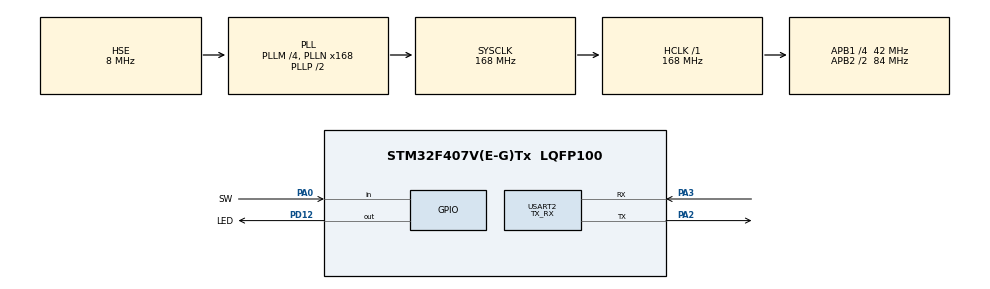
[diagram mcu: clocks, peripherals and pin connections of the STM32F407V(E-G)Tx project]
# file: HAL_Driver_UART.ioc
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Mcu.Family=STM32F4
Mcu.Name=STM32F407V(E-G)Tx
Mcu.Package=LQFP100
NVIC.PriorityGroup=NVIC_PRIORITYGROUP_4
NVIC.USART2_IRQn=true\:0\:0\:false\:false\:true\:true\:true\:true
PA0-WKUP.GPIO_Label=SW
PA0-WKUP.Signal=GPIO_Input
PA2.Mode=Asynchronous
PA2.Signal=USART2_TX
PA3.Mode=Asynchronous
PA3.Signal=USART2_RX
PD12.GPIO_Label=LED
PD12.Signal=GPIO_Output
PH0-OSC_IN.Mode=HSE-External-Oscillator
PH0-OSC_IN.Signal=RCC_OSC_IN
PH1-OSC_OUT.Mode=HSE-External-Oscillator
PH1-OSC_OUT.Signal=RCC_OSC_OUT
ProjectManager.HeapSize=0x200
ProjectManager.StackSize=0x400
ProjectManager.TargetToolchain=STM32CubeIDE
RCC.48MHZClocksFreq_Value=84000000
RCC.AHBFreq_Value=168000000
RCC.APB1CLKDivider=RCC_HCLK_DIV4
RCC.APB1Freq_Value=42000000
RCC.APB1TimFreq_Value=84000000
RCC.APB2CLKDivider=RCC_HCLK_DIV2
RCC.APB2Freq_Value=84000000
RCC.APB2TimFreq_Value=168000000
RCC.CortexFreq_Value=168000000
RCC.HCLKFreq_Value=168000000
RCC.HSE_VALUE=8000000
RCC.HSI_VALUE=16000000
RCC.LSE_VALUE=32768
RCC.PLLM=4
RCC.PLLN=168
RCC.PLLSourceVirtual=RCC_PLLSOURCE_HSE
RCC.SYSCLKFreq_VALUE=168000000
RCC.SYSCLKSource=RCC_SYSCLKSOURCE_PLLCLK
RCC.VCOOutputFreq_Value=336000000
USART2.Mode=MODE_TX_RX
USART2.VirtualMode=VM_ASYNC
board=custom

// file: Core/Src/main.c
/* USER CODE BEGIN Header */
/**
  ******************************************************************************
  * @file           : main.c
  * @brief          : Main program body
  ******************************************************************************
  * @attention
  *
  * Copyright (c) 2023 STMicroelectronics.
  * All rights reserved.
  *
  * This software is licensed under terms that can be found in the LICENSE file
  * in the root directory of this software component.
  * If no LICENSE file comes with this software, it is provided AS-IS.
  *
  ******************************************************************************
  */
/* USER CODE END Header */
#include "main.h"
#include "usart.h"
#include "gpio.h"

/* USER CODE BEGIN Includes */
#include <string.h>
#include <stdio.h>
/* USER CODE END Includes */

/* USER CODE BEGIN PV */
static uint8_t rx[10];
/* USER CODE END PV */

void SystemClock_Config(void);
/* USER CODE BEGIN PFP */
void HAL_UART2_RxCpltCallback(UART_HandleTypeDef *huart);
/* USER CODE END PFP */

int main(void)
{
  /* USER CODE BEGIN 1 */
	uint8_t txt[100];

  /* USER CODE END 1 */

  /* MCU Configuration--------------------------------------------------------*/

  /* Reset of all peripherals, Initializes the Flash interface and the Systick. */
  HAL_Init();

  /* Configure the system clock */
  SystemClock_Config();

  /* Initialize all configured peripherals */
  MX_GPIO_Init();
  MX_USART2_UART_Init();
  /* USER CODE BEGIN 2 */
  HAL_UART_RegisterCallback(&huart2, HAL_UART_RX_COMPLETE_CB_ID, HAL_UART2_RxCpltCallback);
  sprintf((char*)txt, "Hola mundo desde USART 2 stm32\r\n");

  if(HAL_UART_Transmit(&huart2, txt, strlen((char*)txt), 100)  == HAL_OK){
	  //todo
  }else{
	  //todo

  }
  HAL_UART_Receive_IT(&huart2, rx, 4);
  /* USER CODE END 2 */

  /* Infinite loop */
  while (1)
  {

    /* USER CODE BEGIN 3 */
//	  if(HAL_UART_Receive(&huart2, rx, 4, 2000) == HAL_OK){
//		  sprintf((char*)txt, "datos recibidos->%s\r\n", rx);
//	  }else{
//		  sprintf((char*)txt, "->ERROR!\r\n");
//	  }
//	  HAL_UART_Transmit(&huart2, txt, strlen((char*)txt), 100);
//
  }
  /* USER CODE END 3 */
}

void SystemClock_Config(void)
{
  RCC_OscInitTypeDef RCC_OscInitStruct = {0};
  RCC_ClkInitTypeDef RCC_ClkInitStruct = {0};

  /** Configure the main internal regulator output voltage
  */
  __HAL_RCC_PWR_CLK_ENABLE();
  __HAL_PWR_VOLTAGESCALING_CONFIG(PWR_REGULATOR_VOLTAGE_SCALE1);

  /** Initializes the RCC Oscillators according to the specified parameters
  * in the RCC_OscInitTypeDef structure.
  */
  RCC_OscInitStruct.OscillatorType = RCC_OSCILLATORTYPE_HSE;
  RCC_OscInitStruct.HSEState = RCC_HSE_ON;
  RCC_OscInitStruct.PLL.PLLState = RCC_PLL_ON;
  RCC_OscInitStruct.PLL.PLLSource = RCC_PLLSOURCE_HSE;
  RCC_OscInitStruct.PLL.PLLM = 4;
  RCC_OscInitStruct.PLL.PLLN = 168;
  RCC_OscInitStruct.PLL.PLLP = RCC_PLLP_DIV2;
  RCC_OscInitStruct.PLL.PLLQ = 4;
  if (HAL_RCC_OscConfig(&RCC_OscInitStruct) != HAL_OK)
  {
    Error_Handler();
  }

  /** Initializes the CPU, AHB and APB buses clocks
  */
  RCC_ClkInitStruct.ClockType = RCC_CLOCKTYPE_HCLK|RCC_CLOCKTYPE_SYSCLK
                              |RCC_CLOCKTYPE_PCLK1|RCC_CLOCKTYPE_PCLK2;
  RCC_ClkInitStruct.SYSCLKSource = RCC_SYSCLKSOURCE_PLLCLK;
  RCC_ClkInitStruct.AHBCLKDivider = RCC_SYSCLK_DIV1;
  RCC_ClkInitStruct.APB1CLKDivider = RCC_HCLK_DIV4;
  RCC_ClkInitStruct.APB2CLKDivider = RCC_HCLK_DIV2;

  if (HAL_RCC_ClockConfig(&RCC_ClkInitStruct, FLASH_LATENCY_5) != HAL_OK)
  {
    Error_Handler();
  }
}

/* USER CODE BEGIN 4 */
void HAL_UART2_RxCpltCallback(UART_HandleTypeDef *huart)
{

	uint8_t txt[100];
	sprintf((char*)txt, "datos recibidos->%s\r\n", rx);
	HAL_UART_Transmit_IT(huart, txt, strlen((char*)txt));

	HAL_UART_Receive_IT(huart, rx, 4);
}

/* USER CODE END 4 */

void Error_Handler(void)
{
  __disable_irq();
  while (1)
  {
  }
}
